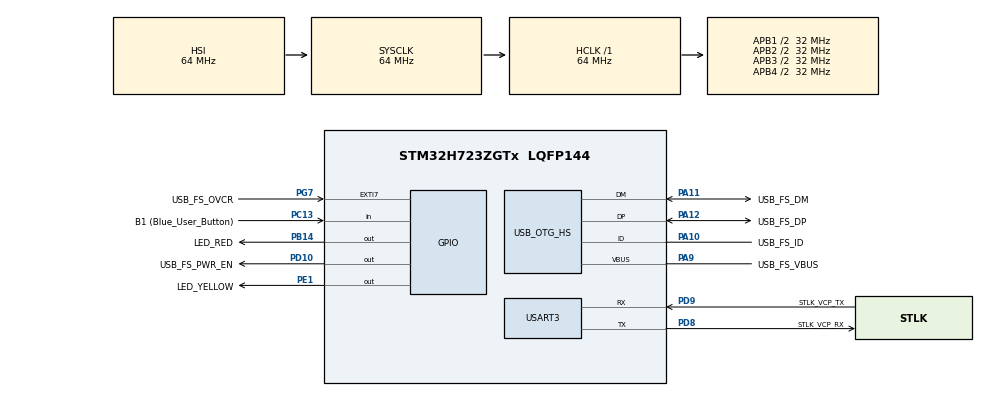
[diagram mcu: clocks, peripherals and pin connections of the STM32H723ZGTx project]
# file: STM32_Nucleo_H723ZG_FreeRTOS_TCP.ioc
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Mcu.Family=STM32H7
Mcu.Name=STM32H723ZGTx
Mcu.Package=LQFP144
NVIC.PriorityGroup=NVIC_PRIORITYGROUP_4
NVIC.TIM6_DAC_IRQn=true\:15\:0\:false\:false\:true\:false\:true\:true
NVIC.TimeBase=TIM6_DAC_IRQn
NVIC.TimeBaseIP=TIM6
PA1.GPIO_Label=RMII_REF_CLK
PA1.Signal=ETH_REF_CLK
PA10.GPIO_Label=USB_FS_ID
PA10.Mode=OTG/Dual-Role-Device-FS
PA10.Signal=USB_OTG_HS_ID
PA11.GPIO_Label=USB_FS_DM
PA11.Mode=OTG/Dual-Role-Device-FS
PA11.Signal=USB_OTG_HS_DM
PA12.GPIO_Label=USB_FS_DP
PA12.Mode=OTG/Dual-Role-Device-FS
PA12.Signal=USB_OTG_HS_DP
PA13(JTMS/SWDIO).GPIO_Label=SWDIO
PA13(JTMS/SWDIO).Mode=Trace_Asynchronous_SW
PA13(JTMS/SWDIO).Signal=DEBUG_JTMS-SWDIO
PA14(JTCK/SWCLK).GPIO_Label=SWCLK
PA14(JTCK/SWCLK).Mode=Trace_Asynchronous_SW
PA14(JTCK/SWCLK).Signal=DEBUG_JTCK-SWCLK
PA2.GPIO_Label=RMII_MDIO
PA2.Signal=ETH_MDIO
PA7.GPIO_Label=RMII_CRS_DV
PA7.Signal=ETH_CRS_DV
PA9.GPIO_Label=USB_FS_VBUS
PA9.Mode=Activate_VBUS_FS
PA9.Signal=USB_OTG_HS_VBUS
PB0.Signal=ETH_RXD2
PB13.GPIO_Label=RMII_TXD1
PB13.Signal=ETH_TXD1
PB14.GPIO_Label=LED_RED
PB14.Signal=GPIO_Output
PB3(JTDO/TRACESWO).GPIO_Label=SWO
PB3(JTDO/TRACESWO).Mode=Trace_Asynchronous_SW
PB3(JTDO/TRACESWO).Signal=DEBUG_JTDO-SWO
PC1.GPIO_Label=RMII_MDC
PC1.Signal=ETH_MDC
PC13.GPIO_Label=B1 (Blue_User_Button)
PC13.Signal=GPIO_Input
PC14-OSC32_IN.Mode=LSE-External-Oscillator
PC14-OSC32_IN.Signal=RCC_OSC32_IN
PC15-OSC32_OUT.Mode=LSE-External-Oscillator
PC15-OSC32_OUT.Signal=RCC_OSC32_OUT
PC4.GPIO_Label=RMII_RXD0
PC4.Signal=ETH_RXD0
PC5.GPIO_Label=RMII_RXD1
PC5.Signal=ETH_RXD1
PD10.GPIO_Label=USB_FS_PWR_EN
PD10.Signal=GPIO_Output
PD8.GPIO_Label=STLK_VCP_RX
PD8.Mode=Asynchronous
PD8.Signal=USART3_TX
PD9.GPIO_Label=STLK_VCP_TX
PD9.Mode=Asynchronous
PD9.Signal=USART3_RX
PE1.GPIO_Label=LED_YELLOW
PE1.Signal=GPIO_Output
PG11.GPIO_Label=RMII_TX_EN
PG11.Signal=ETH_TX_EN
PG13.GPIO_Label=RMII_TXD0
PG13.Signal=ETH_TXD0
PG7.GPIO_Label=USB_FS_OVCR
PG7.Signal=GPXTI7
PH0-OSC_IN.GPIO_Label=MCO
PH0-OSC_IN.Mode=HSE-External-Clock-Source
PH0-OSC_IN.Signal=RCC_OSC_IN
PH1-OSC_OUT.Signal=RCC_OSC_OUT
ProjectManager.HeapSize=0x200
ProjectManager.StackSize=0x400
ProjectManager.TargetToolchain=STM32CubeIDE
RCC.ADCFreq_Value=76000000
RCC.APB1Freq_Value=32000000
RCC.APB2Freq_Value=32000000
RCC.APB3Freq_Value=32000000
RCC.APB4Freq_Value=32000000
RCC.CortexFreq_Value=64000000
RCC.D1PPRE=RCC_APB3_DIV2
RCC.D2PPRE1=RCC_APB1_DIV2
RCC.D2PPRE2=RCC_APB2_DIV2
RCC.D3PPRE=RCC_APB4_DIV2
RCC.DIVM1=4
RCC.DIVM2=1
RCC.DIVN1=275
RCC.DIVN2=19
RCC.DIVP1=1
RCC.DIVQ1=4
RCC.HCLKFreq_Value=64000000
RCC.HSE_VALUE=8000000
RCC.PLLFRACN=0
RCC.PLLSourceVirtual=RCC_PLLSOURCE_HSE
RCC.SYSCLKFreq_VALUE=64000000
RCC.USBCLockSelection=RCC_USBCLKSOURCE_HSI48
RCC.USBFreq_Value=48000000
USART3.VirtualMode-Asynchronous=VM_ASYNC
VP_RNG_VS_RNG.Mode=RNG_Activate
VP_SYS_VS_tim6.Mode=TIM6
board=NUCLEO-H723ZG

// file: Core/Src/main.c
/* USER CODE BEGIN Header */
/**
  ******************************************************************************
  * @file           : main.c
  * @brief          : Main program body
  ******************************************************************************
  * @attention
  *
  * Copyright (c) 2023 STMicroelectronics.
  * All rights reserved.
  *
  * This software is licensed under terms that can be found in the LICENSE file
  * in the root directory of this software component.
  * If no LICENSE file comes with this software, it is provided AS-IS.
  *
  ******************************************************************************
  */
/* USER CODE END Header */
#include "main.h"

/* USER CODE BEGIN Includes */
#include <string.h>

#include "FreeRTOS.h"
#include "task.h"
#include "FreeRTOS_IP.h"

/* USER CODE END Includes */

/* USER CODE BEGIN PTD */
#define LED_HW			0
#define TCP_CLI			1
/* USER CODE END PTD */

RNG_HandleTypeDef hrng;

UART_HandleTypeDef huart3;

/* USER CODE BEGIN PV */

#if LED_HW
static void task_1_thread_fn(void *io_params) {
	while(1) {
		HAL_GPIO_TogglePin(GPIOE, GPIO_PIN_1);
		vTaskDelay(100);
	}
}

static void task_2_thread_fn(void *io_params) {
	while(1) {
		HAL_GPIO_TogglePin(GPIOB, GPIO_PIN_14);
		vTaskDelay(200);
	}
}
#endif

/* USER CODE END PV */

void SystemClock_Config(void);
static void MX_GPIO_Init(void);
static void MX_USART3_UART_Init(void);
static void MX_USB_OTG_HS_USB_Init(void);
static void MX_RNG_Init(void);

int main(void)
{

  /* MCU Configuration--------------------------------------------------------*/

  /* Reset of all peripherals, Initializes the Flash interface and the Systick. */
  HAL_Init();

  /* Configure the system clock */
  SystemClock_Config();

  /* Initialize all configured peripherals */
  MX_GPIO_Init();
  MX_USART3_UART_Init();
  MX_USB_OTG_HS_USB_Init();
  MX_RNG_Init();
  /* USER CODE BEGIN 2 */

#if LED_HW

  TaskHandle_t task_1_handle, task_2_handle;
  BaseType_t ret_status;

  ret_status = xTaskCreate(task_1_thread_fn, "Task_1", 200, "HW from 1", 2, &task_1_handle);
  configASSERT(ret_status == pdPASS);

  ret_status = xTaskCreate(task_2_thread_fn, "Task_2", 200, "HW from 2", 2, &task_2_handle);
  configASSERT(ret_status == pdPASS);

  vTaskStartScheduler();

#elif TCP_CLI

  extern void app_main( void );
  app_main();

#endif

  /* USER CODE END 2 */

  /* Infinite loop */
  while (1)
  {

  }
}

void SystemClock_Config(void)
{
  RCC_OscInitTypeDef RCC_OscInitStruct = {0};
  RCC_ClkInitTypeDef RCC_ClkInitStruct = {0};

  /** Supply configuration update enable
  */
  HAL_PWREx_ConfigSupply(PWR_LDO_SUPPLY);

  /** Configure the main internal regulator output voltage
  */
  __HAL_PWR_VOLTAGESCALING_CONFIG(PWR_REGULATOR_VOLTAGE_SCALE3);

  while(!__HAL_PWR_GET_FLAG(PWR_FLAG_VOSRDY)) {}

  /** Initializes the RCC Oscillators according to the specified parameters
  * in the RCC_OscInitTypeDef structure.
  */
  RCC_OscInitStruct.OscillatorType = RCC_OSCILLATORTYPE_HSI48|RCC_OSCILLATORTYPE_HSI;
  RCC_OscInitStruct.HSIState = RCC_HSI_DIV1;
  RCC_OscInitStruct.HSICalibrationValue = 64;
  RCC_OscInitStruct.HSI48State = RCC_HSI48_ON;
  RCC_OscInitStruct.PLL.PLLState = RCC_PLL_NONE;
  if (HAL_RCC_OscConfig(&RCC_OscInitStruct) != HAL_OK)
  {
    Error_Handler();
  }

  /** Initializes the CPU, AHB and APB buses clocks
  */
  RCC_ClkInitStruct.ClockType = RCC_CLOCKTYPE_HCLK|RCC_CLOCKTYPE_SYSCLK
                              |RCC_CLOCKTYPE_PCLK1|RCC_CLOCKTYPE_PCLK2
                              |RCC_CLOCKTYPE_D3PCLK1|RCC_CLOCKTYPE_D1PCLK1;
  RCC_ClkInitStruct.SYSCLKSource = RCC_SYSCLKSOURCE_HSI;
  RCC_ClkInitStruct.SYSCLKDivider = RCC_SYSCLK_DIV1;
  RCC_ClkInitStruct.AHBCLKDivider = RCC_HCLK_DIV1;
  RCC_ClkInitStruct.APB3CLKDivider = RCC_APB3_DIV2;
  RCC_ClkInitStruct.APB1CLKDivider = RCC_APB1_DIV2;
  RCC_ClkInitStruct.APB2CLKDivider = RCC_APB2_DIV2;
  RCC_ClkInitStruct.APB4CLKDivider = RCC_APB4_DIV2;

  if (HAL_RCC_ClockConfig(&RCC_ClkInitStruct, FLASH_LATENCY_1) != HAL_OK)
  {
    Error_Handler();
  }
}

static void MX_RNG_Init(void)
{

  hrng.Instance = RNG;
  hrng.Init.ClockErrorDetection = RNG_CED_ENABLE;
  if (HAL_RNG_Init(&hrng) != HAL_OK)
  {
    Error_Handler();
  }

}

static void MX_USART3_UART_Init(void)
{

  huart3.Instance = USART3;
  huart3.Init.BaudRate = 115200;
  huart3.Init.WordLength = UART_WORDLENGTH_8B;
  huart3.Init.StopBits = UART_STOPBITS_1;
  huart3.Init.Parity = UART_PARITY_NONE;
  huart3.Init.Mode = UART_MODE_TX_RX;
  huart3.Init.HwFlowCtl = UART_HWCONTROL_NONE;
  huart3.Init.OverSampling = UART_OVERSAMPLING_16;
  huart3.Init.OneBitSampling = UART_ONE_BIT_SAMPLE_DISABLE;
  huart3.Init.ClockPrescaler = UART_PRESCALER_DIV1;
  huart3.AdvancedInit.AdvFeatureInit = UART_ADVFEATURE_NO_INIT;
  if (HAL_UART_Init(&huart3) != HAL_OK)
  {
    Error_Handler();
  }
  if (HAL_UARTEx_SetTxFifoThreshold(&huart3, UART_TXFIFO_THRESHOLD_1_8) != HAL_OK)
  {
    Error_Handler();
  }
  if (HAL_UARTEx_SetRxFifoThreshold(&huart3, UART_RXFIFO_THRESHOLD_1_8) != HAL_OK)
  {
    Error_Handler();
  }
  if (HAL_UARTEx_DisableFifoMode(&huart3) != HAL_OK)
  {
    Error_Handler();
  }

}

static void MX_USB_OTG_HS_USB_Init(void)
{

}

static void MX_GPIO_Init(void)
{
  GPIO_InitTypeDef GPIO_InitStruct = {0};

  /* GPIO Ports Clock Enable */
  __HAL_RCC_GPIOC_CLK_ENABLE();
  __HAL_RCC_GPIOH_CLK_ENABLE();
  __HAL_RCC_GPIOA_CLK_ENABLE();
  __HAL_RCC_GPIOB_CLK_ENABLE();
  __HAL_RCC_GPIOD_CLK_ENABLE();
  __HAL_RCC_GPIOG_CLK_ENABLE();
  __HAL_RCC_GPIOE_CLK_ENABLE();

  /*Configure GPIO pin Output Level */
  HAL_GPIO_WritePin(LED_RED_GPIO_Port, LED_RED_Pin, GPIO_PIN_RESET);

  /*Configure GPIO pin Output Level */
  HAL_GPIO_WritePin(USB_FS_PWR_EN_GPIO_Port, USB_FS_PWR_EN_Pin, GPIO_PIN_RESET);

  /*Configure GPIO pin Output Level */
  HAL_GPIO_WritePin(LED_YELLOW_GPIO_Port, LED_YELLOW_Pin, GPIO_PIN_RESET);

  /*Configure GPIO pin : B1_Pin */
  GPIO_InitStruct.Pin = B1_Pin;
  GPIO_InitStruct.Mode = GPIO_MODE_INPUT;
  GPIO_InitStruct.Pull = GPIO_NOPULL;
  HAL_GPIO_Init(B1_GPIO_Port, &GPIO_InitStruct);

  /*Configure GPIO pins : RMII_MDC_Pin RMII_RXD0_Pin RMII_RXD1_Pin */
  GPIO_InitStruct.Pin = RMII_MDC_Pin|RMII_RXD0_Pin|RMII_RXD1_Pin;
  GPIO_InitStruct.Mode = GPIO_MODE_AF_PP;
  GPIO_InitStruct.Pull = GPIO_NOPULL;
  GPIO_InitStruct.Speed = GPIO_SPEED_FREQ_LOW;
  GPIO_InitStruct.Alternate = GPIO_AF11_ETH;
  HAL_GPIO_Init(GPIOC, &GPIO_InitStruct);

  /*Configure GPIO pins : RMII_REF_CLK_Pin RMII_MDIO_Pin RMII_CRS_DV_Pin */
  GPIO_InitStruct.Pin = RMII_REF_CLK_Pin|RMII_MDIO_Pin|RMII_CRS_DV_Pin;
  GPIO_InitStruct.Mode = GPIO_MODE_AF_PP;
  GPIO_InitStruct.Pull = GPIO_NOPULL;
  GPIO_InitStruct.Speed = GPIO_SPEED_FREQ_LOW;
  GPIO_InitStruct.Alternate = GPIO_AF11_ETH;
  HAL_GPIO_Init(GPIOA, &GPIO_InitStruct);

  /*Configure GPIO pins : PB0 RMII_TXD1_Pin */
  GPIO_InitStruct.Pin = GPIO_PIN_0|RMII_TXD1_Pin;
  GPIO_InitStruct.Mode = GPIO_MODE_AF_PP;
  GPIO_InitStruct.Pull = GPIO_NOPULL;
  GPIO_InitStruct.Speed = GPIO_SPEED_FREQ_LOW;
  GPIO_InitStruct.Alternate = GPIO_AF11_ETH;
  HAL_GPIO_Init(GPIOB, &GPIO_InitStruct);

  /*Configure GPIO pin : LED_RED_Pin */
  GPIO_InitStruct.Pin = LED_RED_Pin;
  GPIO_InitStruct.Mode = GPIO_MODE_OUTPUT_PP;
  GPIO_InitStruct.Pull = GPIO_NOPULL;
  GPIO_InitStruct.Speed = GPIO_SPEED_FREQ_LOW;
  HAL_GPIO_Init(LED_RED_GPIO_Port, &GPIO_InitStruct);

  /*Configure GPIO pin : USB_FS_PWR_EN_Pin */
  GPIO_InitStruct.Pin = USB_FS_PWR_EN_Pin;
  GPIO_InitStruct.Mode = GPIO_MODE_OUTPUT_PP;
  GPIO_InitStruct.Pull = GPIO_NOPULL;
  GPIO_InitStruct.Speed = GPIO_SPEED_FREQ_LOW;
  HAL_GPIO_Init(USB_FS_PWR_EN_GPIO_Port, &GPIO_InitStruct);

  /*Configure GPIO pin : USB_FS_OVCR_Pin */
  GPIO_InitStruct.Pin = USB_FS_OVCR_Pin;
  GPIO_InitStruct.Mode = GPIO_MODE_IT_RISING;
  GPIO_InitStruct.Pull = GPIO_NOPULL;
  HAL_GPIO_Init(USB_FS_OVCR_GPIO_Port, &GPIO_InitStruct);

  /*Configure GPIO pin : USB_FS_VBUS_Pin */
  GPIO_InitStruct.Pin = USB_FS_VBUS_Pin;
  GPIO_InitStruct.Mode = GPIO_MODE_INPUT;
  GPIO_InitStruct.Pull = GPIO_NOPULL;
  HAL_GPIO_Init(USB_FS_VBUS_GPIO_Port, &GPIO_InitStruct);

  /*Configure GPIO pin : USB_FS_ID_Pin */
  GPIO_InitStruct.Pin = USB_FS_ID_Pin;
  GPIO_InitStruct.Mode = GPIO_MODE_AF_PP;
  GPIO_InitStruct.Pull = GPIO_NOPULL;
  GPIO_InitStruct.Speed = GPIO_SPEED_FREQ_LOW;
  GPIO_InitStruct.Alternate = GPIO_AF10_OTG1_HS;
  HAL_GPIO_Init(USB_FS_ID_GPIO_Port, &GPIO_InitStruct);

  /*Configure GPIO pins : RMII_TX_EN_Pin RMII_TXD0_Pin */
  GPIO_InitStruct.Pin = RMII_TX_EN_Pin|RMII_TXD0_Pin;
  GPIO_InitStruct.Mode = GPIO_MODE_AF_PP;
  GPIO_InitStruct.Pull = GPIO_NOPULL;
  GPIO_InitStruct.Speed = GPIO_SPEED_FREQ_LOW;
  GPIO_InitStruct.Alternate = GPIO_AF11_ETH;
  HAL_GPIO_Init(GPIOG, &GPIO_InitStruct);

  /*Configure GPIO pin : LED_YELLOW_Pin */
  GPIO_InitStruct.Pin = LED_YELLOW_Pin;
  GPIO_InitStruct.Mode = GPIO_MODE_OUTPUT_PP;
  GPIO_InitStruct.Pull = GPIO_NOPULL;
  GPIO_InitStruct.Speed = GPIO_SPEED_FREQ_LOW;
  HAL_GPIO_Init(LED_YELLOW_GPIO_Port, &GPIO_InitStruct);

}

/* USER CODE BEGIN 4 */

/*-----------------------------------------------------------*/

void vPrintStringToUart( const char *str )
{
    HAL_UART_Transmit( &( huart3 ), ( const uint8_t * )str, strlen( str ), 1000 );
}

/*-----------------------------------------------------------*/

/* configUSE_STATIC_ALLOCATION is set to 1, so the application must provide an
 * implementation of vApplicationGetIdleTaskMemory() to provide the memory that is
 * used by the Idle task. */
void vApplicationGetIdleTaskMemory( StaticTask_t **ppxIdleTaskTCBBuffer, StackType_t **ppxIdleTaskStackBuffer, uint32_t *pulIdleTaskStackSize )
{
/* If the buffers to be provided to the Idle task are declared inside this
 * function then they must be declared static - otherwise they will be allocated on
 * the stack and so not exists after this function exits. */
static StaticTask_t xIdleTaskTCB;
static StackType_t uxIdleTaskStack[ configMINIMAL_STACK_SIZE ];

    /* Pass out a pointer to the StaticTask_t structure in which the Idle task's
     * state will be stored. */
    *ppxIdleTaskTCBBuffer = &xIdleTaskTCB;

    /* Pass out the array that will be used as the Idle task's stack. */
    *ppxIdleTaskStackBuffer = uxIdleTaskStack;

    /* Pass out the size of the array pointed to by *ppxIdleTaskStackBuffer.
     * Note that, as the array is necessarily of type StackType_t,
     * configMINIMAL_STACK_SIZE is specified in words, not bytes. */
    *pulIdleTaskStackSize = configMINIMAL_STACK_SIZE;
}
/*-----------------------------------------------------------*/

/* configUSE_STATIC_ALLOCATION and configUSE_TIMERS are both set to 1, so the
 * application must provide an implementation of vApplicationGetTimerTaskMemory()
 * to provide the memory that is used by the Timer service task. */
void vApplicationGetTimerTaskMemory( StaticTask_t **ppxTimerTaskTCBBuffer, StackType_t **ppxTimerTaskStackBuffer, uint32_t *pulTimerTaskStackSize )
{
/* If the buffers to be provided to the Timer task are declared inside this
 * function then they must be declared static - otherwise they will be allocated on
 * the stack and so not exists after this function exits. */
static StaticTask_t xTimerTaskTCB;
static StackType_t uxTimerTaskStack[ configTIMER_TASK_STACK_DEPTH ];

    /* Pass out a pointer to the StaticTask_t structure in which the Timer
     * task's state will be stored. */
    *ppxTimerTaskTCBBuffer = &xTimerTaskTCB;

    /* Pass out the array that will be used as the Timer task's stack. */
    *ppxTimerTaskStackBuffer = uxTimerTaskStack;

    /* Pass out the size of the array pointed to by *ppxTimerTaskStackBuffer.
     * Note that, as the array is necessarily of type StackType_t,
     * configMINIMAL_STACK_SIZE is specified in words, not bytes. */
    *pulTimerTaskStackSize = configTIMER_TASK_STACK_DEPTH;
}
/*-----------------------------------------------------------*/

/**
* @brief ETH MSP Initialization
* This function configures the hardware resources used in this example
* @param heth: ETH handle pointer
* @retval None
*/
void HAL_ETH_MspInit(ETH_HandleTypeDef* heth)
{
  GPIO_InitTypeDef GPIO_InitStruct = {0};
  if(heth->Instance==ETH)
  {
  /* USER CODE BEGIN ETH_MspInit 0 */

  /* USER CODE END ETH_MspInit 0 */
    /* Peripheral clock enable */
    __HAL_RCC_ETH1MAC_CLK_ENABLE();
    __HAL_RCC_ETH1TX_CLK_ENABLE();
    __HAL_RCC_ETH1RX_CLK_ENABLE();

    __HAL_RCC_GPIOC_CLK_ENABLE();
    __HAL_RCC_GPIOA_CLK_ENABLE();
    __HAL_RCC_GPIOB_CLK_ENABLE();
    __HAL_RCC_GPIOG_CLK_ENABLE();
    /**ETH GPIO Configuration
    PC1     ------> ETH_MDC
    PA1     ------> ETH_REF_CLK
    PA2     ------> ETH_MDIO
    PA7     ------> ETH_CRS_DV
    PC4     ------> ETH_RXD0
    PC5     ------> ETH_RXD1
    PB13     ------> ETH_TXD1
    PG11     ------> ETH_TX_EN
    PG13     ------> ETH_TXD0
    */
    GPIO_InitStruct.Pin = RMII_MDC_Pin|RMII_RXD0_Pin|RMII_RXD1_Pin;
    GPIO_InitStruct.Mode = GPIO_MODE_AF_PP;
    GPIO_InitStruct.Pull = GPIO_NOPULL;
    GPIO_InitStruct.Speed = GPIO_SPEED_FREQ_LOW;
    GPIO_InitStruct.Alternate = GPIO_AF11_ETH;
    HAL_GPIO_Init(GPIOC, &GPIO_InitStruct);

    GPIO_InitStruct.Pin = RMII_REF_CLK_Pin|RMII_MDIO_Pin|RMII_CRS_DV_Pin;
    GPIO_InitStruct.Mode = GPIO_MODE_AF_PP;
    GPIO_InitStruct.Pull = GPIO_NOPULL;
    GPIO_InitStruct.Speed = GPIO_SPEED_FREQ_LOW;
    GPIO_InitStruct.Alternate = GPIO_AF11_ETH;
    HAL_GPIO_Init(GPIOA, &GPIO_InitStruct);

    GPIO_InitStruct.Pin = RMII_TXD1_Pin;
    GPIO_InitStruct.Mode = GPIO_MODE_AF_PP;
    GPIO_InitStruct.Pull = GPIO_NOPULL;
    GPIO_InitStruct.Speed = GPIO_SPEED_FREQ_LOW;
    GPIO_InitStruct.Alternate = GPIO_AF11_ETH;
    HAL_GPIO_Init(RMII_TXD1_GPIO_Port, &GPIO_InitStruct);

    GPIO_InitStruct.Pin = RMII_TX_EN_Pin|RMII_TXD0_Pin;
    GPIO_InitStruct.Mode = GPIO_MODE_AF_PP;
    GPIO_InitStruct.Pull = GPIO_NOPULL;
    GPIO_InitStruct.Speed = GPIO_SPEED_FREQ_LOW;
    GPIO_InitStruct.Alternate = GPIO_AF11_ETH;
    HAL_GPIO_Init(GPIOG, &GPIO_InitStruct);

    /* ETH interrupt Init */
    HAL_NVIC_SetPriority(ETH_IRQn, 5, 0);
    HAL_NVIC_EnableIRQ(ETH_IRQn);
    HAL_NVIC_SetPriority(ETH_WKUP_IRQn, 5, 0);
    HAL_NVIC_EnableIRQ(ETH_WKUP_IRQn);
  /* USER CODE BEGIN ETH_MspInit 1 */

  /* USER CODE END ETH_MspInit 1 */
  }

}

/**
* @brief ETH MSP De-Initialization
* This function freeze the hardware resources used in this example
* @param heth: ETH handle pointer
* @retval None
*/
void HAL_ETH_MspDeInit(ETH_HandleTypeDef* heth)
{
  if(heth->Instance==ETH)
  {
  /* USER CODE BEGIN ETH_MspDeInit 0 */

  /* USER CODE END ETH_MspDeInit 0 */
    /* Peripheral clock disable */
    __HAL_RCC_ETH1MAC_CLK_DISABLE();
    __HAL_RCC_ETH1TX_CLK_DISABLE();
    __HAL_RCC_ETH1RX_CLK_DISABLE();

    /**ETH GPIO Configuration
    PC1     ------> ETH_MDC
    PA1     ------> ETH_REF_CLK
    PA2     ------> ETH_MDIO
    PA7     ------> ETH_CRS_DV
    PC4     ------> ETH_RXD0
    PC5     ------> ETH_RXD1
    PB13     ------> ETH_TXD1
    PG11     ------> ETH_TX_EN
    PG13     ------> ETH_TXD0
    */
    HAL_GPIO_DeInit(GPIOC, RMII_MDC_Pin|RMII_RXD0_Pin|RMII_RXD1_Pin);

    HAL_GPIO_DeInit(GPIOA, RMII_REF_CLK_Pin|RMII_MDIO_Pin|RMII_CRS_DV_Pin);

    HAL_GPIO_DeInit(RMII_TXD1_GPIO_Port, RMII_TXD1_Pin);

    HAL_GPIO_DeInit(GPIOG, RMII_TX_EN_Pin|RMII_TXD0_Pin);

    /* ETH interrupt DeInit */
    HAL_NVIC_DisableIRQ(ETH_IRQn);
    HAL_NVIC_DisableIRQ(ETH_WKUP_IRQn);
  /* USER CODE BEGIN ETH_MspDeInit 1 */

  /* USER CODE END ETH_MspDeInit 1 */
  }

}

/* USER CODE END 4 */

void HAL_TIM_PeriodElapsedCallback(TIM_HandleTypeDef *htim)
{
  if (htim->Instance == TIM6) {
    HAL_IncTick();
  }
}

void Error_Handler(void)
{
  __disable_irq();
  while (1)
  {
  }
}
